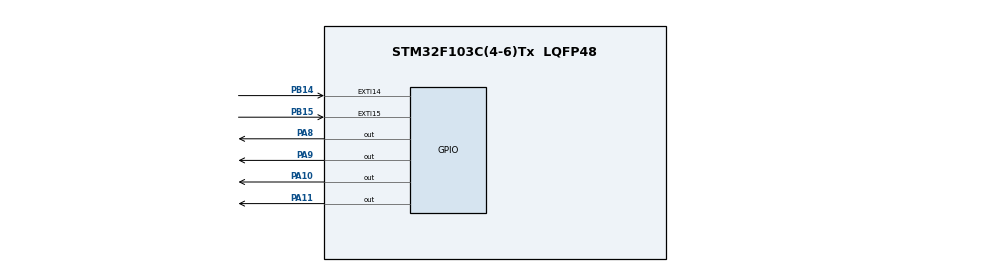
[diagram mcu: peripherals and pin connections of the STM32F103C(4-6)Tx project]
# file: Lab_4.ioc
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Mcu.Family=STM32F1
Mcu.Name=STM32F103C(4-6)Tx
Mcu.Package=LQFP48
NVIC.EXTI15_10_IRQn=true\:0\:0\:false\:true\:true\:3\:true\:true
NVIC.PriorityGroup=NVIC_PRIORITYGROUP_4
NVIC.TIM2_IRQn=true\:0\:0\:false\:true\:true\:1\:true\:true
NVIC.TIM3_IRQn=true\:0\:0\:false\:true\:true\:2\:true\:true
PA10.Signal=GPIO_Output
PA11.Signal=GPIO_Output
PA8.Signal=GPIO_Output
PA9.Signal=GPIO_Output
PB14.GPIO_ModeDefaultEXTI=GPIO_MODE_IT_FALLING
PB14.GPIO_PuPd=GPIO_PULLUP
PB14.Signal=GPXTI14
PB15.GPIO_PuPd=GPIO_PULLDOWN
PB15.Signal=GPXTI15
ProjectManager.HeapSize=0x200
ProjectManager.StackSize=0x400
ProjectManager.TargetToolchain=STM32CubeIDE
RCC.APB1Freq_Value=8000000
RCC.APB2Freq_Value=8000000
TIM2.Period=200
TIM2.Prescaler=8000
TIM2.TIM_MasterOutputTrigger=TIM_TRGO_UPDATE
TIM3.Period=355
TIM3.Prescaler=8000
TIM3.TIM_MasterOutputTrigger=TIM_TRGO_UPDATE
VP_SYS_VS_ND.Mode=No_Debug
VP_TIM2_VS_ClockSourceINT.Mode=Internal
VP_TIM3_VS_ClockSourceINT.Mode=Internal
board=custom

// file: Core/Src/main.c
/* USER CODE BEGIN Header */
/**
  ******************************************************************************
  * @file           : main.c
  * @brief          : Main program body
  ******************************************************************************
  * @attention
  *
  * <h2><center>&copy; Copyright (c) 2021 STMicroelectronics.
  * All rights reserved.</center></h2>
  *
  * This software component is licensed by ST under BSD 3-Clause license,
  * the "License"; You may not use this file except in compliance with the
  * License. You may obtain a copy of the License at:
  *                        opensource.org/licenses/BSD-3-Clause
  *
  ******************************************************************************
  */
/* USER CODE END Header */
#include "main.h"

/* USER CODE BEGIN PM */
int enb = 0;
const char *Pins[] = {GPIO_PIN_8,GPIO_PIN_9,GPIO_PIN_10,GPIO_PIN_11};//Массив пинов светодиодов
/* USER CODE END PM */

TIM_HandleTypeDef htim2;
TIM_HandleTypeDef htim3;

void SystemClock_Config(void);
static void MX_GPIO_Init(void);
static void MX_TIM2_Init(void);
static void MX_TIM3_Init(void);
static void MX_NVIC_Init(void);

int main(void)
{

  /* MCU Configuration--------------------------------------------------------*/

  /* Reset of all peripherals, Initializes the Flash interface and the Systick. */
  HAL_Init();

  /* Configure the system clock */
  SystemClock_Config();

  /* Initialize all configured peripherals */
  MX_GPIO_Init();
  MX_TIM2_Init();
  MX_TIM3_Init();

  /* Initialize interrupts */
  MX_NVIC_Init();
  /* USER CODE BEGIN 2 */
  HAL_TIM_Base_Start_IT(&htim2);
  HAL_TIM_Base_Start_IT(&htim3);

  /* USER CODE END 2 */

  /* Infinite loop */
  /* USER CODE BEGIN WHILE */
  while (1)
  {

	  HAL_GPIO_TogglePin(GPIOA, GPIO_PIN_11);
	  HAL_Delay(500);
    /* USER CODE END WHILE */

  }
}

void SystemClock_Config(void)
{
  RCC_OscInitTypeDef RCC_OscInitStruct = {0};
  RCC_ClkInitTypeDef RCC_ClkInitStruct = {0};

  /** Initializes the RCC Oscillators according to the specified parameters
  * in the RCC_OscInitTypeDef structure.
  */
  RCC_OscInitStruct.OscillatorType = RCC_OSCILLATORTYPE_HSI;
  RCC_OscInitStruct.HSIState = RCC_HSI_ON;
  RCC_OscInitStruct.HSICalibrationValue = RCC_HSICALIBRATION_DEFAULT;
  RCC_OscInitStruct.PLL.PLLState = RCC_PLL_NONE;
  if (HAL_RCC_OscConfig(&RCC_OscInitStruct) != HAL_OK)
  {
    Error_Handler();
  }
  /** Initializes the CPU, AHB and APB buses clocks
  */
  RCC_ClkInitStruct.ClockType = RCC_CLOCKTYPE_HCLK|RCC_CLOCKTYPE_SYSCLK
                              |RCC_CLOCKTYPE_PCLK1|RCC_CLOCKTYPE_PCLK2;
  RCC_ClkInitStruct.SYSCLKSource = RCC_SYSCLKSOURCE_HSI;
  RCC_ClkInitStruct.AHBCLKDivider = RCC_SYSCLK_DIV1;
  RCC_ClkInitStruct.APB1CLKDivider = RCC_HCLK_DIV1;
  RCC_ClkInitStruct.APB2CLKDivider = RCC_HCLK_DIV1;

  if (HAL_RCC_ClockConfig(&RCC_ClkInitStruct, FLASH_LATENCY_0) != HAL_OK)
  {
    Error_Handler();
  }
}

/**
  * @brief NVIC Configuration.
  * @retval None
  */
static void MX_NVIC_Init(void)
{
  /* TIM2_IRQn interrupt configuration */
  HAL_NVIC_SetPriority(TIM2_IRQn, 0, 0);
  HAL_NVIC_EnableIRQ(TIM2_IRQn);
  /* TIM3_IRQn interrupt configuration */
  HAL_NVIC_SetPriority(TIM3_IRQn, 0, 0);
  HAL_NVIC_EnableIRQ(TIM3_IRQn);
  /* EXTI15_10_IRQn interrupt configuration */
  HAL_NVIC_SetPriority(EXTI15_10_IRQn, 0, 0);
  HAL_NVIC_EnableIRQ(EXTI15_10_IRQn);
}

static void MX_TIM2_Init(void)
{

  TIM_ClockConfigTypeDef sClockSourceConfig = {0};
  TIM_MasterConfigTypeDef sMasterConfig = {0};

  htim2.Instance = TIM2;
  htim2.Init.Prescaler = 8000;
  htim2.Init.CounterMode = TIM_COUNTERMODE_UP;
  htim2.Init.Period = 200;
  htim2.Init.ClockDivision = TIM_CLOCKDIVISION_DIV1;
  htim2.Init.AutoReloadPreload = TIM_AUTORELOAD_PRELOAD_DISABLE;
  if (HAL_TIM_Base_Init(&htim2) != HAL_OK)
  {
    Error_Handler();
  }
  sClockSourceConfig.ClockSource = TIM_CLOCKSOURCE_INTERNAL;
  if (HAL_TIM_ConfigClockSource(&htim2, &sClockSourceConfig) != HAL_OK)
  {
    Error_Handler();
  }
  sMasterConfig.MasterOutputTrigger = TIM_TRGO_UPDATE;
  sMasterConfig.MasterSlaveMode = TIM_MASTERSLAVEMODE_DISABLE;
  if (HAL_TIMEx_MasterConfigSynchronization(&htim2, &sMasterConfig) != HAL_OK)
  {
    Error_Handler();
  }

}

static void MX_TIM3_Init(void)
{

  TIM_ClockConfigTypeDef sClockSourceConfig = {0};
  TIM_MasterConfigTypeDef sMasterConfig = {0};

  htim3.Instance = TIM3;
  htim3.Init.Prescaler = 8000;
  htim3.Init.CounterMode = TIM_COUNTERMODE_UP;
  htim3.Init.Period = 355;
  htim3.Init.ClockDivision = TIM_CLOCKDIVISION_DIV1;
  htim3.Init.AutoReloadPreload = TIM_AUTORELOAD_PRELOAD_DISABLE;
  if (HAL_TIM_Base_Init(&htim3) != HAL_OK)
  {
    Error_Handler();
  }
  sClockSourceConfig.ClockSource = TIM_CLOCKSOURCE_INTERNAL;
  if (HAL_TIM_ConfigClockSource(&htim3, &sClockSourceConfig) != HAL_OK)
  {
    Error_Handler();
  }
  sMasterConfig.MasterOutputTrigger = TIM_TRGO_UPDATE;
  sMasterConfig.MasterSlaveMode = TIM_MASTERSLAVEMODE_DISABLE;
  if (HAL_TIMEx_MasterConfigSynchronization(&htim3, &sMasterConfig) != HAL_OK)
  {
    Error_Handler();
  }

}

static void MX_GPIO_Init(void)
{
  GPIO_InitTypeDef GPIO_InitStruct = {0};

  /* GPIO Ports Clock Enable */
  __HAL_RCC_GPIOB_CLK_ENABLE();
  __HAL_RCC_GPIOA_CLK_ENABLE();

  /*Configure GPIO pin Output Level */
  HAL_GPIO_WritePin(GPIOA, GPIO_PIN_8|GPIO_PIN_9|GPIO_PIN_10|GPIO_PIN_11, GPIO_PIN_RESET);

  /*Configure GPIO pin : PB14 */
  GPIO_InitStruct.Pin = GPIO_PIN_14;
  GPIO_InitStruct.Mode = GPIO_MODE_IT_FALLING;
  GPIO_InitStruct.Pull = GPIO_PULLUP;
  HAL_GPIO_Init(GPIOB, &GPIO_InitStruct);

  /*Configure GPIO pin : PB15 */
  GPIO_InitStruct.Pin = GPIO_PIN_15;
  GPIO_InitStruct.Mode = GPIO_MODE_IT_RISING;
  GPIO_InitStruct.Pull = GPIO_PULLDOWN;
  HAL_GPIO_Init(GPIOB, &GPIO_InitStruct);

  /*Configure GPIO pins : PA8 PA9 PA10 PA11 */
  GPIO_InitStruct.Pin = GPIO_PIN_8|GPIO_PIN_9|GPIO_PIN_10|GPIO_PIN_11;
  GPIO_InitStruct.Mode = GPIO_MODE_OUTPUT_PP;
  GPIO_InitStruct.Pull = GPIO_NOPULL;
  GPIO_InitStruct.Speed = GPIO_SPEED_FREQ_LOW;
  HAL_GPIO_Init(GPIOA, &GPIO_InitStruct);

}

/* USER CODE BEGIN 4 */
void HAL_TIM_PeriodElapsedCallback(TIM_HandleTypeDef *htim)
{
	if (htim->Instance == TIM2)
	{
		  HAL_GPIO_TogglePin(GPIOA, GPIO_PIN_10);
	}
	if (htim->Instance == TIM3)
	{
		if(enb == 0)
		{
		  HAL_GPIO_TogglePin(GPIOA, GPIO_PIN_8);
		  enb = 1;
		}
		else
		{
		  HAL_GPIO_TogglePin(GPIOA, GPIO_PIN_9);
		  enb = 0;
		}

	}

}

void HAL_GPIO_EXTI_Callback(uint16_t GPIO_Pin)
{

	if(GPIO_Pin == GPIO_PIN_15)
	{

		  for(int i = 0; i < sizeof(Pins)/ sizeof(Pins[0]);i++)
		  {

			  HAL_GPIO_WritePin(GPIOA, Pins[i], 0);

		  }
		  HAL_TIM_Base_Stop_IT(&htim2);
		  HAL_TIM_Base_Stop_IT(&htim3);

	}
	if(GPIO_Pin == GPIO_PIN_14)
	{

		  HAL_TIM_Base_Start_IT(&htim2);
		  HAL_TIM_Base_Start_IT(&htim3);

	}

}

/* USER CODE END 4 */

void Error_Handler(void)
{
  __disable_irq();
  while (1)
  {
  }
}

/************************ (C) COPYRIGHT STMicroelectronics *****END OF FILE****/
